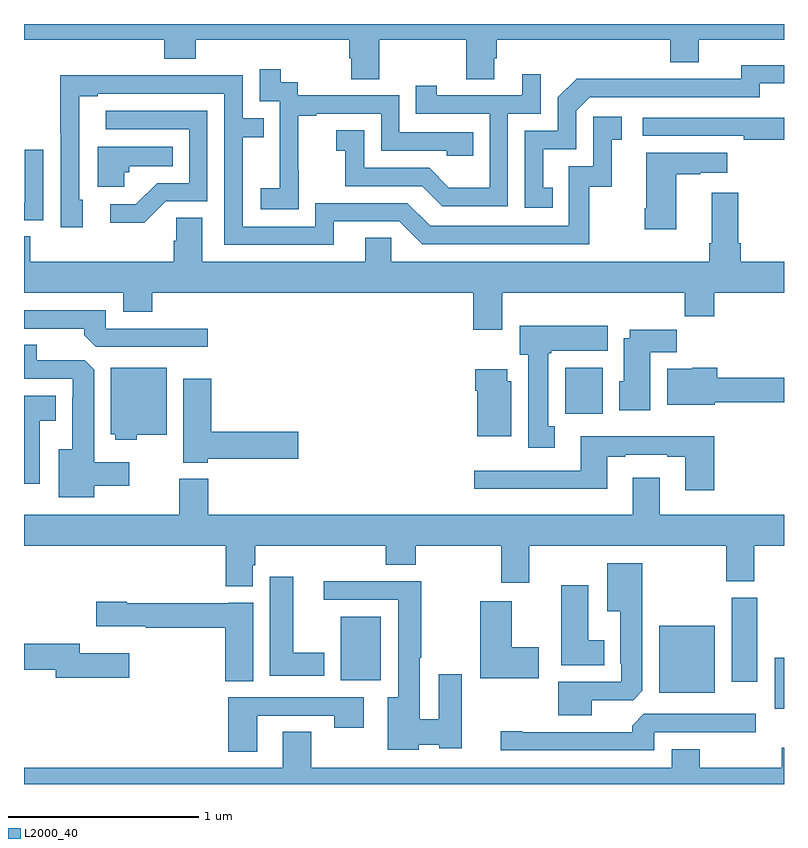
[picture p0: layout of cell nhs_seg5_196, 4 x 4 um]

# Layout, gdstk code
import gdstk
lib = gdstk.Library(unit=1e-6, precision=1e-09)
def R(c, l, rs):  # rectangles x0, y0, x1, y1
    for r in rs: c.add(gdstk.rectangle(r[:2], r[2:], *l))
def P(c, l, *ps):  # polygons
    for p in ps: c.add(gdstk.Polygon(p, *l))
L2000_40 = (2000, 40)

nhs_seg5_196 = lib.new_cell('nhs_seg5_196')
R(nhs_seg5_196, L2000_40, [(124.952,897.194,125,897.463), (124.343,897.278,124.636,897.631), (124.724,897.336,124.858,897.78), (122.666,897.344,122.878,897.679), (123.848,898.748,124.045,898.99)])
P(nhs_seg5_196, L2000_40, [(122.871,900.716),(123.328,900.716),(123.328,900.508),(123.475,900.508),(123.475,900.618),(123.488,900.618),(123.488,900.716),(124.4,900.716),(124.4,900.599),(124.552,900.599),(124.552,900.716),(125,900.716),(125,900.799),(121,900.799),(121,900.716),(121.739,900.716),(121.739,900.617),(121.904,900.617),(121.904,900.716),(122.711,900.716),(122.711,900.618),(122.723,900.618),(122.723,900.508),(122.871,900.508)],
  [(123.782,899.937),(123.733,899.937),(123.733,900.141),(123.906,900.141),(123.906,900.342),(123.978,900.414),(124.872,900.414),(124.872,900.486),(125,900.486),(125,900.583),(124.776,900.583),(124.776,900.51),(124.316,900.51),(124.316,900.512),(123.908,900.512),(123.81,900.414),(123.81,900.237),(123.636,900.237),(123.636,899.832),(123.782,899.832)],
  [(122.445,900.031),(122.444,900.031),(122.444,900.315),(122.539,900.315),(122.539,900.327),(122.88,900.327),(122.88,900.132),(123.225,900.132),(123.225,900.105),(123.365,900.105),(123.365,900.228),(122.976,900.228),(122.976,900.423),(122.442,900.423),(122.442,900.492),(122.35,900.492),(122.35,900.562),(122.241,900.562),(122.241,900.393),(122.346,900.393),(122.346,900.164),(122.345,900.164),(122.345,899.935),(122.247,899.935),(122.247,899.825),(122.445,899.825)],
  [(123.546,900.327),(123.72,900.327),(123.72,900.535),(123.623,900.535),(123.623,900.423),(123.172,900.423),(123.172,900.475),(123.061,900.475),(123.061,900.327),(123.45,900.327),(123.45,899.938),(123.236,899.938),(123.132,900.042),(122.79,900.042),(122.79,900.241),(122.643,900.241),(122.643,900.131),(122.692,900.131),(122.692,899.946),(123.095,899.946),(123.2,899.841),(123.546,899.841)],
  [(122.629,899.76),(122.976,899.76),(123.096,899.64),(123.976,899.64),(123.976,899.943),(124.094,899.943),(124.094,900.189),(124.147,900.189),(124.147,900.31),(123.996,900.31),(123.996,900.051),(123.867,900.051),(123.867,899.736),(123.138,899.736),(123.018,899.856),(122.532,899.856),(122.532,899.733),(122.151,899.733),(122.151,900.202),(122.261,900.202),(122.261,900.303),(122.151,900.303),(122.151,900.528),(121.655,900.528),(121.655,900.53),(121.192,900.53),(121.192,900.223),(121.194,900.223),(121.194,899.73),(121.309,899.73),(121.309,899.874),(121.29,899.874),(121.29,900.42),(121.387,900.42),(121.387,900.432),(122.055,900.432),(122.055,899.637),(122.629,899.637)],
  [(121.746,899.865),(121.965,899.865),(121.965,900.342),(121.431,900.342),(121.431,900.246),(121.869,900.246),(121.869,899.961),(121.7,899.961),(121.589,899.85),(121.455,899.85),(121.455,899.753),(121.633,899.753)],
  [(125,900.306),(124.257,900.306),(124.257,900.21),(124.789,900.21),(124.789,900.19),(125,900.19)],
  [(121.527,900.018),(121.554,900.018),(121.554,900.05),(121.784,900.05),(121.784,900.154),(121.388,900.154),(121.388,899.942),(121.527,899.942)],
  [(121.101,900.136),(121.005,900.136),(121.005,899.862),(121,899.862),(121,899.766),(121.101,899.766)],
  [(124.432,900.007),(124.559,900.007),(124.559,900.017),(124.702,900.017),(124.702,900.121),(124.274,900.121),(124.274,899.83),(124.267,899.83),(124.267,899.718),(124.432,899.718)],
  [(122.934,899.675),(122.795,899.675),(122.795,899.548),(121.939,899.548),(121.939,899.78),(121.8,899.78),(121.8,899.657),(121.787,899.657),(121.787,899.548),(121.034,899.548),(121.034,899.681),(121,899.681),(121,899.384),(121.523,899.384),(121.523,899.285),(121.676,899.285),(121.676,899.384),(123.365,899.384),(123.365,899.19),(123.517,899.19),(123.517,899.384),(124.477,899.384),(124.477,899.26),(124.634,899.26),(124.634,899.384),(125,899.384),(125,899.548),(124.772,899.548),(124.772,899.644),(124.759,899.644),(124.759,899.911),(124.619,899.911),(124.619,899.644),(124.607,899.644),(124.607,899.548),(122.934,899.548)],
  [(121.966,899.196),(121.431,899.196),(121.431,899.292),(121,899.292),(121,899.196),(121.316,899.196),(121.316,899.162),(121.377,899.1),(121.966,899.1)],
  [(123.793,898.682),(123.76,898.682),(123.76,899.065),(123.774,899.065),(123.774,899.078),(124.072,899.078),(124.072,899.212),(123.608,899.212),(123.608,899.058),(123.653,899.058),(123.653,898.569),(123.793,898.569)],
  [(124.297,899.072),(124.436,899.072),(124.436,899.191),(124.187,899.191),(124.187,899.146),(124.157,899.146),(124.157,898.92),(124.133,898.92),(124.133,898.766),(124.297,898.766)],
  [(121.369,898.37),(121.555,898.37),(121.555,898.492),(121.369,898.492),(121.369,898.979),(121.32,899.028),(121.066,899.028),(121.066,899.111),(121,899.111),(121,898.932),(121.257,898.932),(121.257,898.835),(121.253,898.835),(121.253,898.561),(121.184,898.561),(121.184,898.307),(121.369,898.307)],
  [(121.593,898.637),(121.75,898.637),(121.75,898.99),(121.457,898.99),(121.457,898.641),(121.479,898.641),(121.479,898.61),(121.593,898.61)],
  [(124.636,898.807),(125,898.807),(125,898.936),(124.649,898.936),(124.649,898.99),(124.518,898.99),(124.518,898.984),(124.385,898.984),(124.385,898.796),(124.636,898.796)],
  [(123.565,898.92),(123.544,898.92),(123.544,898.981),(123.374,898.981),(123.374,898.868),(123.386,898.868),(123.386,898.628),(123.565,898.628)],
  [(121.968,898.51),(122.443,898.51),(122.443,898.652),(121.985,898.652),(121.985,898.933),(121.838,898.933),(121.838,898.49),(121.968,898.49)],
  [(121.084,898.712),(121.168,898.712),(121.168,898.843),(121,898.843),(121,898.38),(121.084,898.38)],
  [(124.634,898.63),(123.929,898.63),(123.929,898.449),(123.369,898.449),(123.369,898.352),(124.069,898.352),(124.069,898.521),(124.165,898.521),(124.165,898.533),(124.385,898.533),(124.385,898.521),(124.481,898.521),(124.481,898.344),(124.634,898.344)],
  [(122.203,897.951),(122.216,897.951),(122.216,898.052),(122.903,898.052),(122.903,897.953),(123.063,897.953),(123.063,898.052),(123.511,898.052),(123.511,897.858),(123.658,897.858),(123.658,898.052),(124.696,898.052),(124.696,897.865),(124.843,897.865),(124.843,898.052),(125,898.052),(125,898.216),(124.345,898.216),(124.345,898.411),(124.205,898.411),(124.205,898.216),(121.97,898.216),(121.97,898.405),(121.817,898.405),(121.817,898.216),(121,898.216),(121,898.052),(122.063,898.052),(122.063,897.839),(122.203,897.839)],
  [(123.988,897.24),(124.206,897.24),(124.255,897.289),(124.255,897.961),(124.07,897.961),(124.07,897.707),(124.139,897.707),(124.139,897.433),(124.143,897.433),(124.143,897.336),(123.812,897.336),(123.812,897.161),(123.988,897.161)],
  [(122.581,897.49),(122.416,897.49),(122.416,897.889),(122.294,897.889),(122.294,897.368),(122.581,897.368)],
  [(123.078,897.005),(123.186,897.005),(123.186,896.987),(123.304,896.987),(123.304,897.376),(123.182,897.376),(123.182,897.14),(123.082,897.14),(123.082,897.463),(123.09,897.463),(123.09,897.866),(122.577,897.866),(122.577,897.768),(122.969,897.768),(122.969,897.256),(122.915,897.256),(122.915,896.978),(123.078,896.978)],
  [(124.054,897.556),(123.97,897.556),(123.97,897.844),(123.827,897.844),(123.827,897.425),(124.054,897.425)],
  [(123.709,897.519),(123.568,897.519),(123.568,897.76),(123.401,897.76),(123.401,897.356),(123.709,897.356)],
  [(122.206,897.754),(122.076,897.754),(122.076,897.751),(121.542,897.751),(121.542,897.759),(121.38,897.759),(121.38,897.629),(121.642,897.629),(121.642,897.622),(122.06,897.622),(122.06,897.34),(122.206,897.34)],
  [(121.555,897.487),(121.294,897.487),(121.294,897.536),(121,897.536),(121,897.4),(121.166,897.4),(121.166,897.358),(121.555,897.358)],
  [(122.227,897.159),(122.632,897.159),(122.632,897.096),(122.788,897.096),(122.788,897.255),(122.075,897.255),(122.075,896.97),(122.227,896.97)],
  [(124.317,897.072),(124.852,897.072),(124.852,897.168),(124.263,897.168),(124.202,897.106),(124.202,897.072),(123.622,897.072),(123.622,897.077),(123.51,897.077),(123.51,896.976),(124.317,896.976)],
  [(125,896.991),(124.989,896.991),(124.989,896.884),(124.557,896.884),(124.557,896.983),(124.409,896.983),(124.409,896.884),(122.511,896.884),(122.511,897.074),(122.363,897.074),(122.363,896.884),(121,896.884),(121,896.799),(125,896.799)])

lib.write_gds('nhs_seg5_196.gds')
